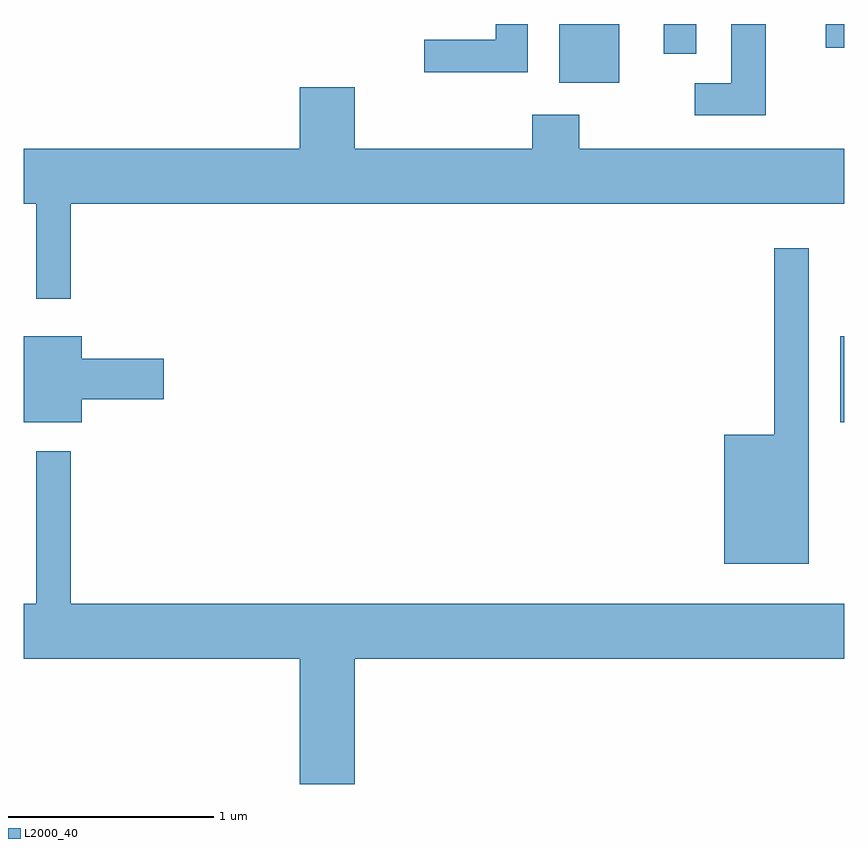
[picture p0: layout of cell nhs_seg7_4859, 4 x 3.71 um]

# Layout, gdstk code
import gdstk
lib = gdstk.Library(unit=1e-6, precision=1e-09)
def R(c, l, rs):  # rectangles x0, y0, x1, y1
    for r in rs: c.add(gdstk.rectangle(r[:2], r[2:], *l))
def P(c, l, *ps):  # polygons
    for p in ps: c.add(gdstk.Polygon(p, *l))
L2000_40 = (2000, 40)

nhs_seg7_4859 = lib.new_cell('nhs_seg7_4859')
R(nhs_seg7_4859, L2000_40, [(337.591,1764.311,337.611,1764.729), (336.221,1765.966,336.514,1766.252), (336.731,1766.108,336.889,1766.252), (337.521,1766.136,337.611,1766.252)])
P(nhs_seg7_4859, L2000_40, [(336.069,1766.252),(335.911,1766.252),(335.911,1766.174),(335.563,1766.174),(335.563,1766.016),(336.069,1766.016)],
  [(337.229,1766.252),(337.061,1766.252),(337.061,1765.964),(336.883,1765.964),(336.883,1765.806),(337.229,1765.806)],
  [(333.839,1765.376),(337.611,1765.376),(337.611,1765.644),(336.319,1765.644),(336.319,1765.809),(336.091,1765.809),(336.091,1765.644),(335.224,1765.644),(335.224,1765.944),(334.956,1765.944),(334.956,1765.644),(333.611,1765.644),(333.611,1765.376),(333.671,1765.376),(333.671,1764.913),(333.839,1764.913)],
  [(337.439,1765.158),(337.271,1765.158),(337.271,1764.249),(337.026,1764.249),(337.026,1763.621),(337.439,1763.621)],
  [(333.894,1764.421),(334.294,1764.421),(334.294,1764.619),(333.894,1764.619),(333.894,1764.729),(333.611,1764.729),(333.611,1764.311),(333.894,1764.311)],
  [(335.224,1763.156),(337.611,1763.156),(337.611,1763.424),(333.839,1763.424),(333.839,1764.168),(333.671,1764.168),(333.671,1763.424),(333.611,1763.424),(333.611,1763.156),(334.956,1763.156),(334.956,1762.546),(335.224,1762.546)])

lib.write_gds('nhs_seg7_4859.gds')
